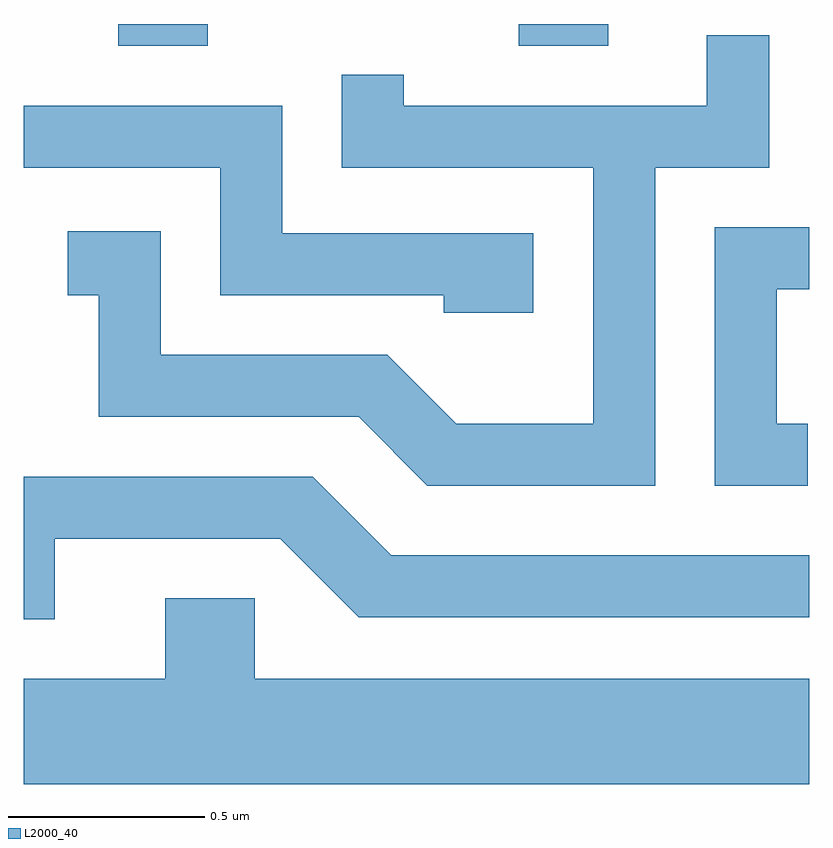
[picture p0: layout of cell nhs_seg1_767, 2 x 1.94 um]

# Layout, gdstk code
import gdstk
lib = gdstk.Library(unit=1e-6, precision=1e-09)
def R(c, l, rs):  # rectangles x0, y0, x1, y1
    for r in rs: c.add(gdstk.rectangle(r[:2], r[2:], *l))
def P(c, l, *ps):  # polygons
    for p in ps: c.add(gdstk.Polygon(p, *l))
L2000_40 = (2000, 40)

nhs_seg1_767 = lib.new_cell('nhs_seg1_767')
R(nhs_seg1_767, L2000_40, [(190.851,923.656,191.079,923.712), (191.871,923.656,192.099,923.712)])
P(nhs_seg1_767, L2000_40, [(192.219,923.346),(192.509,923.346),(192.509,923.683),(192.351,923.683),(192.351,923.504),(191.579,923.504),(191.579,923.583),(191.421,923.583),(191.421,923.346),(192.061,923.346),(192.061,922.694),(191.712,922.694),(191.537,922.869),(190.959,922.869),(190.959,923.184),(190.723,923.184),(190.723,923.021),(190.801,923.021),(190.801,922.711),(191.464,922.711),(191.639,922.536),(192.219,922.536)],
  [(191.909,923.179),(191.269,923.179),(191.269,923.504),(190.611,923.504),(190.611,923.346),(191.111,923.346),(191.111,923.021),(191.681,923.021),(191.681,922.976),(191.909,922.976)],
  [(192.608,922.694),(192.529,922.694),(192.529,923.036),(192.611,923.036),(192.611,923.194),(192.371,923.194),(192.371,922.536),(192.608,922.536)],
  [(190.689,922.401),(191.264,922.401),(191.464,922.201),(192.611,922.201),(192.611,922.359),(191.547,922.359),(191.347,922.559),(190.611,922.559),(190.611,922.196),(190.689,922.196)],
  [(192.611,922.044),(191.199,922.044),(191.199,922.249),(190.971,922.249),(190.971,922.044),(190.611,922.044),(190.611,921.776),(192.611,921.776)])

lib.write_gds('nhs_seg1_767.gds')
